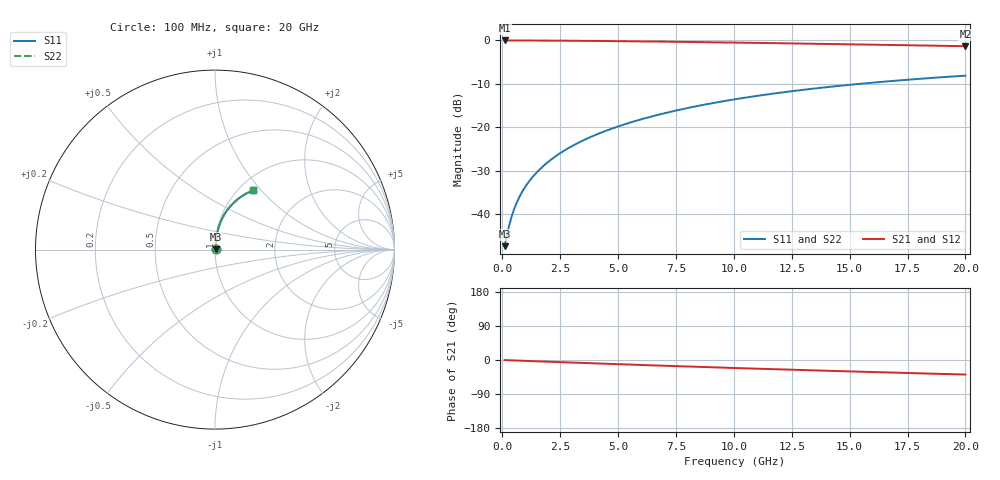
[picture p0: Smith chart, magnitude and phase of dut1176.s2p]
! Touchstone file exported from HFSS 2024.1.0
!  File:  C:/UserFiles/LocalFiles/RDL_TSV_Batchsim/temp_RDL_bottom_1176_1780057072.aedt
!  Generated:  08:20:25 PM May 29, 2026
!  Design:  RDL_bottom
!  Project:  temp_RDL_bottom_1176_1780057072
!  Setup:  Setup1
!  Solution:  Sweep
! Variables:
!  dtsv = 10.80580581um
!  hbump = 3um
!  htsv = 82.5um
!  ldown = 490.79um
!  lrdl = 100um
!  p = 40
!  p1 = 54.93um
!  rhole = 1um
!  t = 450um
!  tdown = 2.47um
!  trdl = 3.915915916um
!  wdown = 20.38um
!  wrdl = 20um
# GHz S MA R 50.000000
! Terminal data exported
! Port[1] = RDL1_T1
! Port[2] = RDL1_T2
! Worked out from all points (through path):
!   200 points, 100 MHz to 20 GHz, reference 50 ohm
!   highest |S21| = -0.03 dB at 100 MHz (marker M1); lowest = -1.4 dB at 20 GHz (marker M2)
!   group delay of S21, straight-line fit = 5.31 ps
!   lowest |S11| = -47.4 dB at 100 MHz (marker M3), VSWR 1.01, Z = 50.4 + j0.217 ohm
!   |S11| at or under -10 dB: start of sweep to 15.46 GHz
!   |S22| runs from -47.4 to -8.1 dB; largest |S21 - S12| = 3e-15
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0.1  0.004289 30.1  0.9963 -0.2  0.9963 -0.2  0.004289 30.1
! Gamma 0 0 0 0
! Port Impedance 50 0 50 0
0.3  0.007476 58.3  0.996 -0.7  0.996 -0.7  0.007475 58.3
0.4  0.009338 64.2  0.9959 -0.9  0.9959 -0.9  0.009337 64.2
0.5  0.01123 68.0  0.9957 -1.2  0.9957 -1.2  0.01123 68.0
0.6  0.01314 70.7  0.9955 -1.4  0.9955 -1.4  0.01314 70.7
0.8  0.01696 74.3  0.9951 -1.8  0.9951 -1.8  0.01696 74.3
1.1  0.02273 77.5  0.9945 -2.5  0.9945 -2.5  0.02273 77.5
1.3  0.0266 78.9  0.9941 -3.0  0.9941 -3.0  0.0266 78.9
1.6  0.03247 80.3  0.9934 -3.6  0.9934 -3.6  0.03247 80.3
2.1  0.04236 81.7  0.992 -4.8  0.992 -4.8  0.04236 81.7
2.7  0.05441 82.4  0.9899 -6.1  0.9899 -6.1  0.05442 82.5
3.5  0.07075 82.7  0.9865 -7.8  0.9865 -7.8  0.07076 82.7
4.2  0.08529 82.4  0.983 -9.4  0.983 -9.4  0.08531 82.5
5  0.1021 81.8  0.9785 -11.1  0.9785 -11.1  0.1022 81.9
5.9  0.1213 80.9  0.9728 -12.9  0.9728 -12.9  0.1213 80.9
6.8  0.1406 79.7  0.9666 -14.8  0.9666 -14.8  0.1407 79.8
8.4  0.1749 77.2  0.9548 -18.0  0.9548 -18.0  0.175 77.3
10.1  0.2109 74.4  0.9414 -21.2  0.9414 -21.2  0.2111 74.5
11.7  0.2438 71.5  0.9281 -24.2  0.9281 -24.2  0.2441 71.7
13.4  0.2775 68.5  0.9136 -27.3  0.9136 -27.3  0.2778 68.6
16.7  0.3383 62.7  0.8848 -33.0  0.8848 -33.0  0.3387 62.8
20  0.3923 57.2  0.8557 -38.4  0.8557 -38.4  0.3928 57.3
